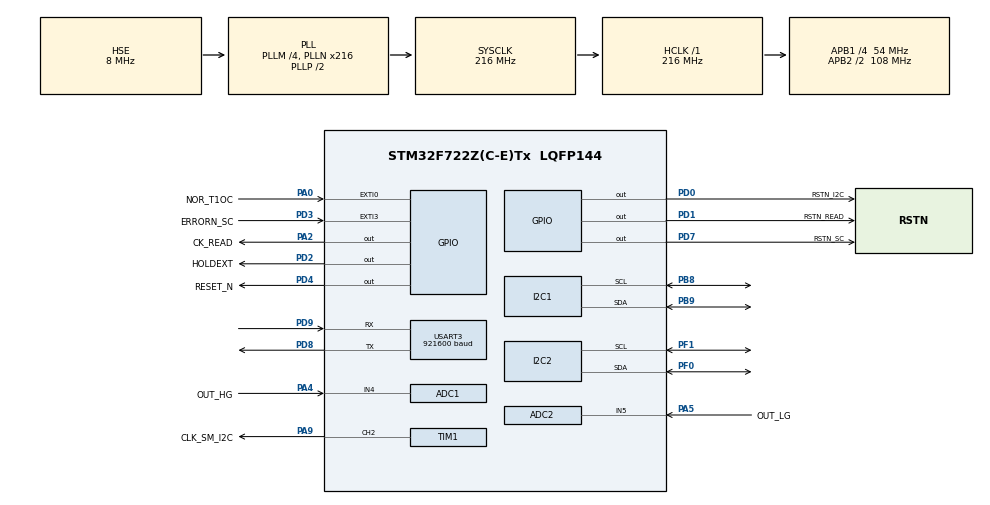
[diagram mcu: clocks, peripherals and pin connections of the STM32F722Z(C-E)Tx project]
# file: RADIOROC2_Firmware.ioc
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ADC1.Channel-0\#ChannelRegularConversion=ADC_CHANNEL_4
ADC1.ClockPrescaler=ADC_CLOCK_SYNC_PCLK_DIV4
ADC1.NbrOfConversionFlag=1
ADC1.Rank-0\#ChannelRegularConversion=1
ADC1.SamplingTime-0\#ChannelRegularConversion=ADC_SAMPLETIME_144CYCLES
ADC1.master=1
ADC2.Channel-0\#ChannelRegularConversion=ADC_CHANNEL_5
ADC2.ClockPrescaler=ADC_CLOCK_SYNC_PCLK_DIV4
ADC2.NbrOfConversionFlag=1
ADC2.Rank-0\#ChannelRegularConversion=1
ADC2.SamplingTime-0\#ChannelRegularConversion=ADC_SAMPLETIME_144CYCLES
CORTEX_M7.CPU_ICache=Enabled
CORTEX_M7.default_mode_Activation=1
Dma.Request0=USART3_TX
Dma.USART3_TX.0.Direction=DMA_MEMORY_TO_PERIPH
Dma.USART3_TX.0.FIFOMode=DMA_FIFOMODE_DISABLE
Dma.USART3_TX.0.Instance=DMA1_Stream3
Dma.USART3_TX.0.MemDataAlignment=DMA_MDATAALIGN_BYTE
Dma.USART3_TX.0.MemInc=DMA_MINC_ENABLE
Dma.USART3_TX.0.Mode=DMA_NORMAL
Dma.USART3_TX.0.PeriphDataAlignment=DMA_PDATAALIGN_BYTE
Dma.USART3_TX.0.PeriphInc=DMA_PINC_DISABLE
Dma.USART3_TX.0.Priority=DMA_PRIORITY_LOW
I2C1.Timing=0x20404768
I2C2.Timing=0x20404768
Mcu.Family=STM32F7
Mcu.Name=STM32F722Z(C-E)Tx
Mcu.Package=LQFP144
NVIC.DMA1_Stream3_IRQn=true\:5\:0\:false\:false\:true\:false\:true\:true
NVIC.EXTI0_IRQn=true\:0\:0\:false\:false\:true\:true\:true\:true
NVIC.EXTI3_IRQn=true\:0\:0\:false\:false\:true\:true\:true\:true
NVIC.PriorityGroup=NVIC_PRIORITYGROUP_4
NVIC.USART3_IRQn=true\:5\:0\:false\:false\:true\:true\:true\:true
PA0-WKUP.GPIO_Label=NOR_T1OC
PA0-WKUP.GPIO_ModeDefaultEXTI=GPIO_MODE_IT_FALLING
PA0-WKUP.GPIO_PuPd=GPIO_PULLUP
PA0-WKUP.Signal=GPXTI0
PA13.Mode=Serial_Wire
PA13.Signal=SYS_JTMS-SWDIO
PA14.Mode=Serial_Wire
PA14.Signal=SYS_JTCK-SWCLK
PA2.GPIO_Label=CK_READ
PA2.GPIO_Speed=GPIO_SPEED_FREQ_HIGH
PA2.Signal=GPIO_Output
PA4.GPIO_Label=OUT_HG
PA4.Signal=ADCx_IN4
PA5.GPIO_Label=OUT_LG
PA5.Signal=ADCx_IN5
PA9.GPIO_Label=CLK_SM_I2C
PA9.Signal=S_TIM1_CH2
PB8.Mode=I2C
PB8.Signal=I2C1_SCL
PB9.Mode=I2C
PB9.Signal=I2C1_SDA
PD0.GPIO_Label=RSTN_I2C
PD0.PinState=GPIO_PIN_SET
PD0.Signal=GPIO_Output
PD1.GPIO_Label=RSTN_READ
PD1.PinState=GPIO_PIN_SET
PD1.Signal=GPIO_Output
PD2.GPIO_Label=HOLDEXT
PD2.PinState=GPIO_PIN_RESET
PD2.Signal=GPIO_Output
PD3.GPIO_Label=ERRORN_SC
PD3.GPIO_ModeDefaultEXTI=GPIO_MODE_IT_FALLING
PD3.GPIO_PuPd=GPIO_PULLUP
PD3.Signal=GPXTI3
PD4.GPIO_Label=RESET_N
PD4.PinState=GPIO_PIN_SET
PD4.Signal=GPIO_Output
PD7.GPIO_Label=RSTN_SC
PD7.PinState=GPIO_PIN_SET
PD7.Signal=GPIO_Output
PD8.Mode=Asynchronous
PD8.Signal=USART3_TX
PD9.Mode=Asynchronous
PD9.Signal=USART3_RX
PF0.Mode=I2C
PF0.Signal=I2C2_SDA
PF1.Mode=I2C
PF1.Signal=I2C2_SCL
PH0-OSC_IN.Mode=HSE-External-Clock-Source
PH0-OSC_IN.Signal=RCC_OSC_IN
PH1-OSC_OUT.Mode=HSE-External-Clock-Source
PH1-OSC_OUT.Signal=RCC_OSC_OUT
ProjectManager.HeapSize=0x200
ProjectManager.StackSize=0x400
ProjectManager.TargetToolchain=STM32CubeIDE
RCC.48MHZClocksFreq_Value=24000000
RCC.AHBFreq_Value=216000000
RCC.APB1CLKDivider=RCC_HCLK_DIV4
RCC.APB1Freq_Value=54000000
RCC.APB1TimFreq_Value=108000000
RCC.APB2CLKDivider=RCC_HCLK_DIV2
RCC.APB2Freq_Value=108000000
RCC.APB2TimFreq_Value=216000000
RCC.CortexFreq_Value=216000000
RCC.HCLKFreq_Value=216000000
RCC.HSE_VALUE=8000000
RCC.HSI_VALUE=16000000
RCC.LSE_VALUE=32768
RCC.PLLM=4
RCC.PLLMUL=RCC_PLL_MUL9
RCC.PLLN=216
RCC.PLLQ=9
RCC.PLLSourceVirtual=RCC_PLLSOURCE_HSE
RCC.PRESCALERUSB=RCC_USBCLKSOURCE_PLL_DIV1_5
RCC.SYSCLKFreq_VALUE=216000000
RCC.SYSCLKSource=RCC_SYSCLKSOURCE_PLLCLK
RCC.SYSCLKSourceVirtual=RCC_SYSCLKSOURCE_PLLCLK
RCC.USBFreq_Value=48000000
RCC.VCOOutputFreq_Value=432000000
SH.ADCx_IN4.0=ADC1_IN4,IN4
SH.ADCx_IN5.0=ADC2_IN5,IN5
SH.S_TIM1_CH2.0=TIM1_CH2,PWM Generation2 CH2
TIM1.AutoReloadPreload=TIM_AUTORELOAD_PRELOAD_ENABLE
TIM1.AutomaticOutput=TIM_AUTOMATICOUTPUT_ENABLE
TIM1.Channel-PWM\ Generation2\ CH2=TIM_CHANNEL_2
TIM1.Period=107
TIM1.Pulse-PWM\ Generation2\ CH2=54
USART3.BaudRate=921600
USART3.VirtualMode-Asynchronous=VM_ASYNC
VP_TIM1_VS_ClockSourceINT.Mode=Internal
board=NUCLEO-F722ZE

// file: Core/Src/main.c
/* USER CODE BEGIN Header */
/**
  ******************************************************************************
  * @file           : main.c
  * @brief          : Main program body
  ******************************************************************************
  * @attention
  *
  * Copyright (c) 2026 STMicroelectronics.
  * All rights reserved.
  *
  * This software is licensed under terms that can be found in the LICENSE file
  * in the root directory of this software component.
  * If no LICENSE file comes with this software, it is provided AS-IS.
  *
  ******************************************************************************
  */
/* USER CODE END Header */
#include "main.h"
#include "adc.h"
#include "dma.h"
#include "i2c.h"
#include "tim.h"
#include "usart.h"
#include "gpio.h"

/* USER CODE BEGIN Includes */
#include "radioroc2_daq.h"   /* pulls in radioroc2_regs.h + radioroc2.h */
#include "tmp102.h"          /* temperature sensor on I2C2 */
#include "usb_stream.h"      /* event streaming over the ST-Link VCP */
#include "radioroc2_ctrl.h"  /* shadow registers + setters */
#include "usb_cmd.h"         /* host command interface */
#include "rr2_test_i2c.h"    /* scope test 2: Slow Control I2C bus */
#include <stdio.h>           /* optional: printf over SWO/VCP */
/* USER CODE END Includes */

/* USER CODE BEGIN PD */
/* ---- Experiment window ------------------------------------------
 * Which channels the readout digitises, and which ones the ASIC is
 * configured for at boot. Everything outside this window is disabled,
 * so 60 unconnected inputs stop feeding the NOR trigger.
 *
 * The window is deliberately WIDER than the one instrumented channel.
 * Only RR2_EXP_SIGNAL_CH carries a SiPM; the channels after it are
 * dark, and their peak-detector codes in the same event are a live
 * sample of the readout chain's own baseline - trigger, temperature
 * and all. That is the pedestal, recorded next to every measurement
 * instead of once in a separate run, which is what lets a thermal
 * sweep be pedestal-corrected afterwards from its own data.
 *
 * The trigger that latched the event came from the signal channel, so
 * it is uncorrelated with the noise in these three - no selection bias,
 * unlike a pedestal harvested by lowering the threshold into the noise.
 * ------------------------------------------------------------------ */
#define RR2_EXP_SIGNAL_CH   0u   /* the channel with the SiPM on it    */
#define RR2_EXP_FIRST_CH    0u   /* first channel read out             */
#define RR2_EXP_NUM_CH      4u   /* signal + 3 dark baseline references */

/* Widening the array later means moving two of these three, and the one
   left behind is silent: the signal channel simply stops being read and
   the stream fills with baseline. Make the compiler notice instead.  */
_Static_assert((RR2_EXP_SIGNAL_CH >= RR2_EXP_FIRST_CH) &&
               (RR2_EXP_SIGNAL_CH <  RR2_EXP_FIRST_CH + RR2_EXP_NUM_CH),
               "signal channel sits outside the readout window");
/* USER CODE END PD */

/* USER CODE BEGIN PV */
/* ---- Bring-up / DAQ state -------------------------------------- */

/* Set by the NOR_T1OC EXTI: the ASIC started an acquisition.
   Cleared by the main loop once the event has been serviced.       */
volatile uint8_t  g_rr2_trigger_flag  = 0;
volatile uint32_t g_rr2_trigger_count = 0;

/* Set by the ERRORN_SC EXTI: the ASIC reported a Slow Control
   error (active low). Sticky - cleared only by software.           */
volatile uint8_t  g_rr2_sc_error = 0;

/* Result of the power-on configuration sequence. Inspect in the
   debugger: RR2_OK (0) means the ASIC accepted the full config.    */
volatile RR2_Status g_rr2_cfg_status = RR2_OK;
volatile uint8_t    g_rr2_online     = 0;   /* 1 = ASIC ACKed */
/* 1 = SDA was found held low at boot and had to be clocked free. Worth
   surfacing: it means something reset mid-frame, and the ASIC spent the
   time since refusing every write. */
volatile uint8_t    g_rr2_bus_jam    = 0;

/* Most recent digitised event (~136 bytes, lives in .bss).         */
RR2_Event g_rr2_event;
volatile RR2_Status g_rr2_read_status = RR2_OK;
volatile uint32_t   g_rr2_events_ok   = 0;
volatile uint32_t   g_rr2_events_bad  = 0;

/* 0 means the DWT cycle counter is not running and readout delays
   fall back to a coarse loop. Safe, but slower. Check once at boot. */
volatile uint8_t    g_rr2_timing_ok   = 0;

/* ---- Temperature monitoring ------------------------------------ */
/* Last valid reading in milli-Celsius (25.0 C -> 25000).            */
volatile int32_t  g_temp_milli_c = 0;
volatile uint8_t  g_temp_online  = 0;   /* 1 = TMP102 ACKed */
static   uint32_t s_temp_next_ms = 0;   /* next poll deadline */

/* ---- Host link ------------------------------------------------- */
static uint32_t s_status_next_ms = 0;   /* status frame deadline */
/* USER CODE END PV */

void SystemClock_Config(void);
static void MPU_Config(void);
/* USER CODE BEGIN PFP */
static void RR2_HW_ReleaseResets(void);
static void RR2_StartClocks(void);
static uint8_t RR2_Bringup(void);
static RR2_Status RR2_ApplyExperimentConfig(void);
static void RR2_ServiceEvent(void);
static void TMP_Poll(void);
static void USB_SendStatusPeriodic(void);
/* USER CODE END PFP */

int main(void)
{

  /* MPU Configuration--------------------------------------------------------*/
  MPU_Config();

  /* Enable the CPU Cache */

  /* Enable I-Cache---------------------------------------------------------*/
  SCB_EnableICache();

  /* MCU Configuration--------------------------------------------------------*/

  /* Reset of all peripherals, Initializes the Flash interface and the Systick. */
  HAL_Init();

  /* USER CODE BEGIN Init */
  /* Flash prefetch buffer and ART accelerator.
   *
   * These two lines are the only thing that switches them on. HAL_Init()
   * does it too, but only behind PREFETCH_ENABLE and
   * ART_ACCELERATOR_ENABLE in stm32f7xx_hal_conf.h, and both are left at
   * the value CubeMX writes - which is 0U, i.e. off.
   *
   * Leaving them off there is deliberate. That file has a USER CODE
   * block around its header and nowhere else, so a define edited at line
   * 151 is rewritten by the next Generate Code with nothing to show for
   * it. Enabling from here instead survives regeneration, the same way
   * the link baud does in USART3_Init 2 - and it means hal_conf.h can be
   * regenerated freely without taking the setting with it.
   *
   * The prefetch buffer is what earns its keep: at 216 MHz the flash
   * needs seven wait states, and the buffer is what hides them.
   *
   * ART is honestly along for the ride. It accelerates instruction fetch
   * over ITCM only, and the linker maps FLASH at 0x08000000, which is
   * the AXIM interface - so in this configuration it does nothing. It is
   * enabled because it costs one instruction and would be correct if the
   * code ever moves.
   *
   * Safe next to the DAQ: every timing constraint there is a minimum
   * gated by DWT->CYCCNT, which counts core cycles regardless of how
   * fast instructions arrive. D-cache stays off deliberately - the DMA
   * writes straight to RAM. */
  __HAL_FLASH_ART_ENABLE();
  __HAL_FLASH_PREFETCH_BUFFER_ENABLE();
  /* USER CODE END Init */

  /* Configure the system clock */
  SystemClock_Config();

  /* Initialize all configured peripherals */
  MX_GPIO_Init();
  MX_DMA_Init();
  MX_ADC1_Init();
  MX_ADC2_Init();
  MX_I2C1_Init();
  MX_I2C2_Init();
  MX_TIM1_Init();
  MX_USART3_UART_Init();
  /* USER CODE BEGIN 2 */
  /* ---------------------------------------------------------------
     * RADIOROC2 power-on sequence.
     * Order matters:
     *   1) clk_sm_i2c must already be running before any I2C traffic,
     *      because the ASIC's I2C slave core is clocked by it.
     *   2) Only then release the resets.
     *   3) Only then talk to the chip.
     * ------------------------------------------------------------- */
    /* Deafen the trigger until the ASIC is configured.
     *
     * MX_GPIO_Init() arms EXTI0 about a second before the chip is in a
     * state worth listening to. For that second all 64 channels are
     * enabled - 60 of them on floating inputs - and RR2_Ctrl_PushAll()
     * is busy writing a shadow whose threshold DACs are still 0x00,
     * which is the very bottom of the 256..534 mV range. Every
     * discriminator fires on everything, and the counter reaches the
     * hundreds before the run has begun.
     *
     * Those counts are not harmless. trigger_count is what a rate
     * measurement is read from, and starting it at some arbitrary
     * boot-dependent offset makes the first reading of a quiet
     * detector indistinguishable from a working one. The single event
     * serviced immediately afterwards is worse: it is a real frame,
     * with a sequence number and a timestamp, carrying peak detector
     * codes from a chip that was still being configured while they
     * were captured. */
    HAL_NVIC_DisableIRQ(NOR_T1OC_EXTI_IRQn);

    RR2_StartClocks();                    /* CLK_SM_I2C = 2 MHz           */
    RR2_HW_ReleaseResets();               /* de-assert active-low resets  */
    RR2_Init(&hi2c1);                     /* bind the Slow Control driver */
    /* Both gains reach an ADC since the rewire - OUT_AMUXLG on PA5 /
       ADC2_IN5, OUT_AMUXHG on PA4 / ADC1_IN4. Both handles are bound,
       but HG stays dormant until the host sends 'hg 1': the switch
       lives in the DAQ and the OUT_POWER shadow, not in which handles
       this call was given. */
    RR2_DAQ_Init(&hadc2, &hadc1);         /* bind the ADCs, enable DWT    */
    g_rr2_timing_ok = RR2_DAQ_IsTimingOk();

    /* Temperature sensor lives on its own bus, independent of the ASIC. */
    TMP102_Init(&hi2c2, TMP102_ADDR_GND);          /* 0x48 */
    g_temp_online = (TMP102_IsReady(3u) == HAL_OK) ? 1u : 0u;

    /* The shadow must hold sane defaults even if the ASIC never
     * answered, otherwise a later 'push' from the host would write
     * zeros everywhere. */
    RR2_Ctrl_ResetShadow();

    /* Free the bus before the first transaction. A reset that landed
       inside a Slow Control frame leaves the ASIC holding SDA low, and
       every write from here would fail until someone pulled power. */
    if ((GPIOB->IDR & GPIO_PIN_9) == 0u) {
        g_rr2_bus_jam = 1u;
        (void)RR2_I2C_BusRecover();
    }

    g_rr2_online = RR2_Bringup();

    if (g_rr2_online) {
        g_rr2_cfg_status = RR2_Ctrl_PushAll();

        if (g_rr2_cfg_status == RR2_OK) {
            g_rr2_cfg_status = RR2_Ctrl_SetThresholds(300u, 500u, 200u);
        }
        if (g_rr2_cfg_status == RR2_OK) {
            g_rr2_cfg_status = RR2_ApplyExperimentConfig();
        }
        RR2_DAQ_EndOfReadout();
    }

    /* Now the trigger means something. Re-armed outside the branch
       above so an ASIC that never answered still ends up in a defined
       state rather than permanently deaf. The pending bit is cleared
       as well as the flag: the edges that arrived while the interrupt
       was masked are latched in the EXTI, and enabling the IRQ without
       dropping them would deliver the whole boot burst as one trigger
       the moment the main loop starts. */
    g_rr2_trigger_flag  = 0u;
    g_rr2_trigger_count = 0u;
    __HAL_GPIO_EXTI_CLEAR_IT(NOR_T1OC_Pin);
    HAL_NVIC_ClearPendingIRQ(NOR_T1OC_EXTI_IRQn);
    HAL_NVIC_EnableIRQ(NOR_T1OC_EXTI_IRQn);

    /* Start the host link. Binary framing by default; switch to
     * USBSTREAM_FMT_TEXT if you want to watch it in a serial terminal. */
    USBStream_Init();
    /* USBStream_SetFormat(USBSTREAM_FMT_TEXT); */

    /* Host command interface. The shadow must mirror whatever we just
     * wrote to the ASIC, otherwise the first host edit would push stale
     * neighbouring bits. */
    USBCmd_Init();

    /* Breakpoint here during bring-up and inspect:
     *   g_rr2_online     -> 1 if the ASIC ACKed its Chip ID
     *   g_rr2_cfg_status -> RR2_OK if the whole config sequence passed */
  /* USER CODE END 2 */

  /* Infinite loop */
  /* USER CODE BEGIN WHILE */
    while (1)
      {
        /* --- Scope test, driven from the debugger --------------------- */
        /* A no-op until its mode variable is set from Live Expressions,
           and it blocks until that is cleared again. Kept ahead of the
           DAQ so nothing else drives the bus while a probe is on it.
           See rr2_test_i2c.h. */
        RR2_TestI2C_Task();

        /* --- Slow Control error reported by the ASIC ------------------ */
        if (g_rr2_sc_error) {
            uint8_t sc_status = 0;
            g_rr2_sc_error = 0;
            /* R7 holds the error / parity flags of the I2C slave core.  */
            (void)RR2_ReadStatus(&sc_status);
            /* TODO: log or re-send the failed Slow Control transaction. */
        }

        /* --- Acquisition trigger from NOR_T1OC ----------------------- */
        if (g_rr2_trigger_flag) {
            g_rr2_trigger_flag = 0;
            RR2_ServiceEvent();
        }
        /* --- Temperature, polled about once per second ---------------- */
                TMP_Poll();

                /* --- Push queued bytes out and emit a periodic status frame --- */
                USBStream_Task();
                USB_SendStatusPeriodic();

                /* --- Commands from the host (parsing + ASIC writes) ----------- */
                USBCmd_Task();
    /* USER CODE END WHILE */

  }
}

void SystemClock_Config(void)
{
  RCC_OscInitTypeDef RCC_OscInitStruct = {0};
  RCC_ClkInitTypeDef RCC_ClkInitStruct = {0};

  /** Configure the main internal regulator output voltage
  */
  __HAL_RCC_PWR_CLK_ENABLE();
  __HAL_PWR_VOLTAGESCALING_CONFIG(PWR_REGULATOR_VOLTAGE_SCALE1);

  /** Initializes the RCC Oscillators according to the specified parameters
  * in the RCC_OscInitTypeDef structure.
  */
  RCC_OscInitStruct.OscillatorType = RCC_OSCILLATORTYPE_HSE;
  RCC_OscInitStruct.HSEState = RCC_HSE_BYPASS;
  RCC_OscInitStruct.PLL.PLLState = RCC_PLL_ON;
  RCC_OscInitStruct.PLL.PLLSource = RCC_PLLSOURCE_HSE;
  RCC_OscInitStruct.PLL.PLLM = 4;
  RCC_OscInitStruct.PLL.PLLN = 216;
  RCC_OscInitStruct.PLL.PLLP = RCC_PLLP_DIV2;
  RCC_OscInitStruct.PLL.PLLQ = 9;
  if (HAL_RCC_OscConfig(&RCC_OscInitStruct) != HAL_OK)
  {
    Error_Handler();
  }

  /** Activate the Over-Drive mode
  */
  if (HAL_PWREx_EnableOverDrive() != HAL_OK)
  {
    Error_Handler();
  }

  /** Initializes the CPU, AHB and APB buses clocks
  */
  RCC_ClkInitStruct.ClockType = RCC_CLOCKTYPE_HCLK|RCC_CLOCKTYPE_SYSCLK
                              |RCC_CLOCKTYPE_PCLK1|RCC_CLOCKTYPE_PCLK2;
  RCC_ClkInitStruct.SYSCLKSource = RCC_SYSCLKSOURCE_PLLCLK;
  RCC_ClkInitStruct.AHBCLKDivider = RCC_SYSCLK_DIV1;
  RCC_ClkInitStruct.APB1CLKDivider = RCC_HCLK_DIV4;
  RCC_ClkInitStruct.APB2CLKDivider = RCC_HCLK_DIV2;

  if (HAL_RCC_ClockConfig(&RCC_ClkInitStruct, FLASH_LATENCY_7) != HAL_OK)
  {
    Error_Handler();
  }
}

/* USER CODE BEGIN 4 */
/* ==================================================================
 * RADIOROC2 low-level board helpers
 * ================================================================== */

/**
 * @brief Start the clock the ASIC's I2C slave core needs.
 *
 * CLK_SM_I2C (PA9 / TIM1_CH2) MUST run at exactly 20x the SCL
 * frequency: 100 kHz SCL -> 2 MHz here.
 *
 * CK_READ is deliberately NOT started here. It is burst generated in
 * software during readout - see radioroc2_daq.c.
 */
static void RR2_StartClocks(void)
{
    HAL_TIM_PWM_Start(&htim1, TIM_CHANNEL_2);   /* CLK_SM_I2C, 2 MHz */
}

/**
 * @brief Drive every reset line to its inactive state.
 *
 * All RSTN_* lines and RESET_N are active low, so "inactive" is HIGH.
 * HOLDEXT is active high and stays LOW (internal hold is used unless
 * selHoldExt is set in Slow Control address 65, subadd 12, bit 4).
 */
static void RR2_HW_ReleaseResets(void)
{
    /* Assert all resets briefly to force a known state ... */
    HAL_GPIO_WritePin(RESET_N_GPIO_Port,   RESET_N_Pin,   GPIO_PIN_RESET);
    HAL_GPIO_WritePin(RSTN_I2C_GPIO_Port,  RSTN_I2C_Pin,  GPIO_PIN_RESET);
    HAL_GPIO_WritePin(RSTN_SC_GPIO_Port,   RSTN_SC_Pin,   GPIO_PIN_RESET);
    HAL_GPIO_WritePin(RSTN_READ_GPIO_Port, RSTN_READ_Pin, GPIO_PIN_RESET);
    HAL_GPIO_WritePin(HOLDEXT_GPIO_Port,   HOLDEXT_Pin,   GPIO_PIN_RESET);
    HAL_Delay(1);   /* datasheet asks for >20 ns; 1 ms is generous */

    /* ... then release them. */
    HAL_GPIO_WritePin(RESET_N_GPIO_Port,   RESET_N_Pin,   GPIO_PIN_SET);
    HAL_GPIO_WritePin(RSTN_I2C_GPIO_Port,  RSTN_I2C_Pin,  GPIO_PIN_SET);
    HAL_GPIO_WritePin(RSTN_SC_GPIO_Port,   RSTN_SC_Pin,   GPIO_PIN_SET);
    HAL_GPIO_WritePin(RSTN_READ_GPIO_Port, RSTN_READ_Pin, GPIO_PIN_SET);
    HAL_Delay(1);
}

/**
 * @brief Stage-1 bring-up check: does the ASIC answer on its Chip ID?
 * @retval 1 if the ASIC ACKed, 0 otherwise.
 */
static uint8_t RR2_Bringup(void)
{
    return (RR2_IsReady(3u) == HAL_OK) ? 1u : 0u;
}

/**
 * @brief Put the ASIC into the configuration the experiment runs in.
 *
 * Applied at boot rather than left to the operator, because the Slow
 * Control is volatile: a brown-out during a temperature soak otherwise
 * brings the chip back with 64 live channels on 20 ns shaping, and it
 * keeps streaming, and it looks exactly like data. Only uptime_ms going
 * backwards in the status frame gives it away.
 *
 * inDac is pinned mid-scale. The sweep itself moves the HV supply, not
 * this DAC - its whole span is 550 mV, about 25 C of drift, which is
 * not enough to cover the range. What mid-scale buys is a trim that
 * still works in both directions afterwards, roughly +-275 mV, and it
 * keeps the sensor 276 mV further from the overvoltage where the low
 * gain chain runs out of ceiling.
 *
 * The value equals RR2_CH_INDAC_DEFAULT, so this write changes nothing
 * the shadow reset had not already done. It is here so the choice is
 * stated where the experiment is configured, rather than inherited from
 * a constant whose job is to mean "what the datasheet powers up as".
 */
static RR2_Status RR2_ApplyExperimentConfig(void)
{
    RR2_Status st;

    /* Silence every channel, then bring back only the window. The 60
       unconnected inputs are floating, and their discriminators feed
       the same NOR trigger as the channel that matters.              */
    st = RR2_Ctrl_SetChannelEnabled(RR2_CH_ALL, 0u);
    if (st != RR2_OK) return st;

    for (uint8_t c = RR2_EXP_FIRST_CH;
         c < (uint8_t)(RR2_EXP_FIRST_CH + RR2_EXP_NUM_CH); ++c) {
        st = RR2_Ctrl_SetChannelEnabled(c, 1u);
        if (st != RR2_OK) return st;

        /* Everything in the window except the signal channel is there
           to report a baseline, not to trigger. Their inputs are
           unconnected and floating, and a spurious discriminator hit
           raises the same NOR trigger as a real gamma - which presents
           as a count rate that ignores the source, the one symptom
           first light is looking for. Shapers and peak detectors stay
           on; only the discriminators go. */
        if (c != RR2_EXP_SIGNAL_CH) {
            st = RR2_Ctrl_SetDiscriminators(c, 0u);
            if (st != RR2_OK) return st;
        }
    }

    /* Every channel, not just the window: the dark references are
       supposed to report the same front end the signal channel runs
       on, and an input DAC left elsewhere would offset their baseline
       against it.                                                    */
    st = RR2_Ctrl_SetInDac(RR2_CH_ALL, 128u);
    if (st != RR2_OK) return st;

    /* Slow shaping, ~1.7 us peaking, hold delay stretched to match.
       Safe to run after the channel gating: the shaping setters touch
       only their own bits and leave the enables alone.               */
    return RR2_Ctrl_PresetCsI();
}

/**
 * @brief Digitise one event after a trigger.
 *
 * The ASIC's delay cell has to finish asserting "hold" before the read
 * register may be clocked, so wait that out first - for however long
 * the currently configured delay needs, which RR2_DAQ_WaitHold() works
 * out from the shadow.
 *
 * Only the experiment window is digitised. All 64 channels would cost
 * roughly 64 x 6 us = 400 us of dead time and 149 bytes on the wire per
 * event, against 25 us and 29 bytes for four - and the 60 channels left
 * out are disabled anyway, so their codes would carry nothing.
 */
static void RR2_ServiceEvent(void)
{
    RR2_DAQ_WaitHold();

    g_rr2_read_status = RR2_DAQ_ReadWindow(&g_rr2_event,
                                           RR2_EXP_FIRST_CH,
                                           RR2_EXP_NUM_CH);

    if (g_rr2_read_status == RR2_OK) {
        g_rr2_events_ok++;
        /* Queue for the host. Returns 0 if the ring was full, in which
           case the frame is dropped rather than stalling the DAQ. */
        (void)USBStream_SendEvent(&g_rr2_event, g_temp_milli_c, HAL_GetTick());
    } else {
        g_rr2_events_bad++;
    }
}

/**
 * @brief Sample the TMP102 roughly once per second.
 *
 * Kept in the main loop on purpose: a 3-byte I2C transaction at
 * 100 kHz costs about 400 us, which is far too long for an ISR.
 * The sensor free-runs at 4 Hz, so polling faster gains nothing.
 */
static void TMP_Poll(void)
{
    int32_t mc;

    if (!g_temp_online)                 return;
    if (HAL_GetTick() < s_temp_next_ms) return;

    s_temp_next_ms = HAL_GetTick() + 1000u;

    if (TMP102_ReadMilliC(&mc) == TMP102_OK) {
        g_temp_milli_c = mc;
    }
}

/**
 * @brief Emit a status frame once per second.
 *
 * Gives the host a heartbeat plus the counters needed to spot problems:
 * dropped frames mean the link cannot keep up, events_bad means the
 * readout itself is failing.
 */
static void USB_SendStatusPeriodic(void)
{
    USBStream_Status st;

    if (HAL_GetTick() < s_status_next_ms) return;
    s_status_next_ms = HAL_GetTick() + 1000u;

    st.uptime_ms      = HAL_GetTick();
    st.trigger_count  = g_rr2_trigger_count;
    st.events_ok      = g_rr2_events_ok;
    st.events_bad     = g_rr2_events_bad;
    st.frames_dropped = USBStream_GetDropped();
    st.temp_milli_c   = g_temp_milli_c;
    st.rr2_online     = g_rr2_online;
    st.temp_online    = g_temp_online;
    st.timing_ok      = g_rr2_timing_ok;
    st.bus_jam        = g_rr2_bus_jam;
    st.cfg_status     = (uint8_t)g_rr2_cfg_status;
    st.read_status    = (uint8_t)g_rr2_read_status;
    st.cmd_done       = USBCmd_GetDone();
    st.cmd_failed     = USBCmd_GetFailed();
    st.cmd_last       = USBCmd_GetLastStatus();

    (void)USBStream_SendStatus(&st);
}

/* ==================================================================
 * Interrupt callbacks
 * ================================================================== */

/**
 * @brief Shared EXTI callback for both ASIC status lines.
 *
 * NOR_T1OC  (PA0, EXTI0): falling edge = the ASIC started an
 *                         acquisition on the low time trigger.
 * ERRORN_SC (PD3, EXTI3): active-low Slow Control error flag.
 *
 * Keep this short - only set flags. The readout itself blocks for
 * hundreds of microseconds and must not run inside an ISR.
 */
void HAL_GPIO_EXTI_Callback(uint16_t GPIO_Pin)
{
    if (GPIO_Pin == NOR_T1OC_Pin) {
        g_rr2_trigger_flag = 1u;
        g_rr2_trigger_count++;
    }
    else if (GPIO_Pin == ERRORN_SC_Pin) {
        g_rr2_sc_error = 1u;
    }
}
/* USER CODE END 4 */

 /* MPU Configuration */

void MPU_Config(void)
{
  MPU_Region_InitTypeDef MPU_InitStruct = {0};

  /* Disables the MPU */
  HAL_MPU_Disable();

  /** Initializes and configures the Region and the memory to be protected
  */
  MPU_InitStruct.Enable = MPU_REGION_ENABLE;
  MPU_InitStruct.Number = MPU_REGION_NUMBER0;
  MPU_InitStruct.BaseAddress = 0x0;
  MPU_InitStruct.Size = MPU_REGION_SIZE_4GB;
  MPU_InitStruct.SubRegionDisable = 0x87;
  MPU_InitStruct.TypeExtField = MPU_TEX_LEVEL0;
  MPU_InitStruct.AccessPermission = MPU_REGION_NO_ACCESS;
  MPU_InitStruct.DisableExec = MPU_INSTRUCTION_ACCESS_DISABLE;
  MPU_InitStruct.IsShareable = MPU_ACCESS_SHAREABLE;
  MPU_InitStruct.IsCacheable = MPU_ACCESS_NOT_CACHEABLE;
  MPU_InitStruct.IsBufferable = MPU_ACCESS_NOT_BUFFERABLE;

  HAL_MPU_ConfigRegion(&MPU_InitStruct);
  /* Enables the MPU */
  HAL_MPU_Enable(MPU_PRIVILEGED_DEFAULT);

}

void Error_Handler(void)
{
  __disable_irq();
  while (1)
  {
  }
}
